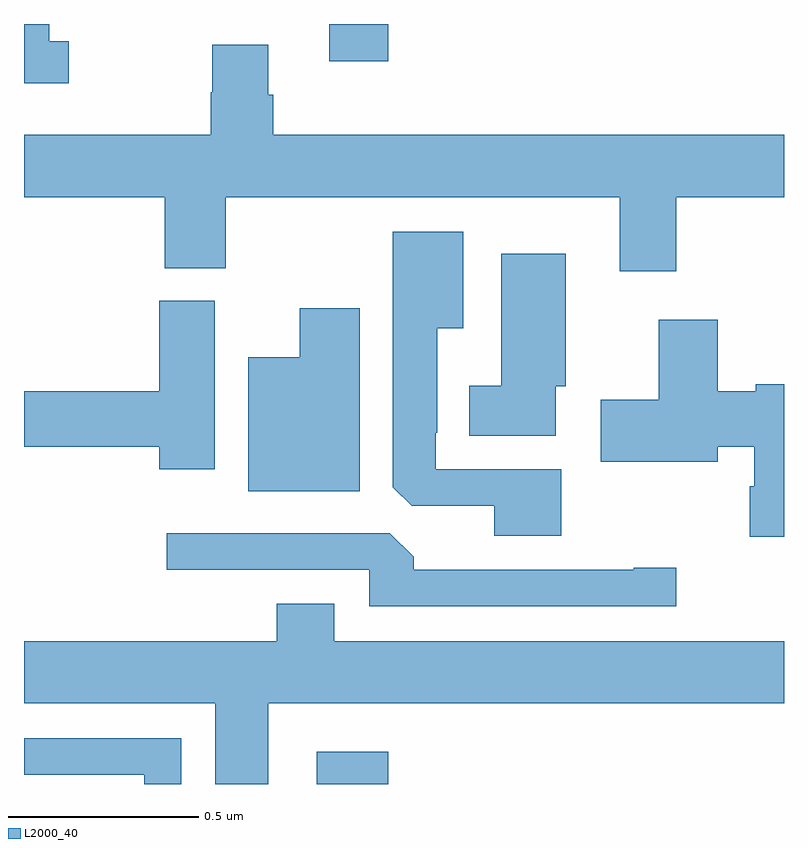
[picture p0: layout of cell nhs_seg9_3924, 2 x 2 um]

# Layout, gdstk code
import gdstk
lib = gdstk.Library(unit=1e-6, precision=1e-09)
def R(c, l, rs):  # rectangles x0, y0, x1, y1
    for r in rs: c.add(gdstk.rectangle(r[:2], r[2:], *l))
def P(c, l, *ps):  # polygons
    for p in ps: c.add(gdstk.Polygon(p, *l))
L2000_40 = (2000, 40)

nhs_seg9_3924 = lib.new_cell('nhs_seg9_3924')
R(nhs_seg9_3924, L2000_40, [(159.771,1237.5,159.959,1237.585), (159.803,1239.402,159.959,1239.5)])
P(nhs_seg9_3924, L2000_40, [(159.118,1239.454),(159.066,1239.454),(159.066,1239.5),(159,1239.5),(159,1239.344),(159.118,1239.344)],
  [(160.716,1239.044),(161,1239.044),(161,1239.208),(159.656,1239.208),(159.656,1239.314),(159.643,1239.314),(159.643,1239.446),(159.496,1239.446),(159.496,1239.321),(159.491,1239.321),(159.491,1239.208),(159,1239.208),(159,1239.044),(159.371,1239.044),(159.371,1238.857),(159.531,1238.857),(159.531,1239.044),(160.568,1239.044),(160.568,1238.85),(160.716,1238.85)],
  [(160.414,1238.328),(160.083,1238.328),(160.083,1238.425),(160.087,1238.425),(160.087,1238.699),(160.156,1238.699),(160.156,1238.953),(159.971,1238.953),(159.971,1238.281),(160.02,1238.232),(160.238,1238.232),(160.238,1238.153),(160.414,1238.153)],
  [(160.399,1238.547),(160.426,1238.547),(160.426,1238.896),(160.256,1238.896),(160.256,1238.548),(160.172,1238.548),(160.172,1238.417),(160.399,1238.417)],
  [(159.502,1238.772),(159.356,1238.772),(159.356,1238.534),(159,1238.534),(159,1238.387),(159.356,1238.387),(159.356,1238.328),(159.502,1238.328)],
  [(159.883,1238.752),(159.725,1238.752),(159.725,1238.623),(159.59,1238.623),(159.59,1238.27),(159.883,1238.27)],
  [(161,1238.552),(160.926,1238.552),(160.926,1238.534),(160.825,1238.534),(160.825,1238.722),(160.67,1238.722),(160.67,1238.511),(160.518,1238.511),(160.518,1238.348),(160.825,1238.348),(160.825,1238.387),(160.922,1238.387),(160.922,1238.283),(160.91,1238.283),(160.91,1238.151),(161,1238.151)],
  [(160.717,1238.069),(160.604,1238.069),(160.604,1238.064),(160.025,1238.064),(160.025,1238.098),(159.963,1238.16),(159.375,1238.16),(159.375,1238.064),(159.909,1238.064),(159.909,1237.968),(160.717,1237.968)],
  [(159.643,1237.712),(161,1237.712),(161,1237.876),(159.817,1237.876),(159.817,1237.975),(159.665,1237.975),(159.665,1237.876),(159,1237.876),(159,1237.712),(159.503,1237.712),(159.503,1237.5),(159.643,1237.5)],
  [(159.414,1237.62),(159,1237.62),(159,1237.524),(159.317,1237.524),(159.317,1237.5),(159.414,1237.5)])

lib.write_gds('nhs_seg9_3924.gds')
